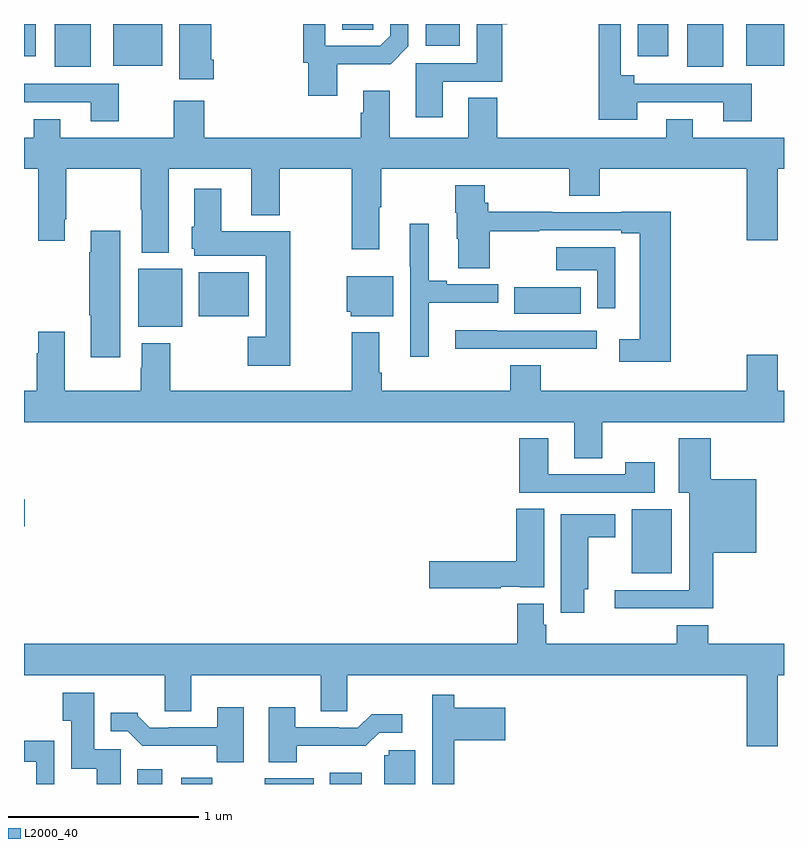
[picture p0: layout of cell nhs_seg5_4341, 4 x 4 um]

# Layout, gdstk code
import gdstk
lib = gdstk.Library(unit=1e-6, precision=1e-09)
def R(c, l, rs):  # rectangles x0, y0, x1, y1
    for r in rs: c.add(gdstk.rectangle(r[:2], r[2:], *l))
def P(c, l, *ps):  # polygons
    for p in ps: c.add(gdstk.Polygon(p, *l))
L2000_40 = (2000, 40)

nhs_seg5_4341 = lib.new_cell('nhs_seg5_4341')
R(nhs_seg5_4341, L2000_40, [(365.597,910.799,365.728,910.876), (365.828,910.799,365.99,910.831), (366.266,910.799,366.524,910.828), (366.609,910.799,366.778,910.858), (368.198,911.909,368.41,912.244), (365,912.155,365.005,912.297), (365.6,913.205,365.833,913.51), (365.921,913.262,366.184,913.492), (367.581,913.274,367.931,913.414), (365.162,914.573,365.35,914.799), (368.492,914.573,368.68,914.799), (365.471,914.579,365.728,914.799), (368.801,914.579,369,914.799), (365,914.628,365.062,914.799), (368.231,914.628,368.392,914.799), (367.115,914.684,367.294,914.799), (366.675,914.77,366.837,914.799)])
P(nhs_seg5_4341, L2000_40, [(365.999,914.611),(365.986,914.611),(365.986,914.799),(365.816,914.799),(365.816,914.507),(365.999,914.507)],
  [(367.204,914.496),(367.517,914.496),(367.517,914.798),(367.543,914.798),(367.543,914.799),(367.382,914.799),(367.382,914.592),(367.061,914.592),(367.061,914.307),(367.204,914.307)],
  [(366.649,914.588),(366.929,914.588),(367.023,914.682),(367.023,914.799),(366.927,914.799),(366.927,914.736),(366.876,914.685),(366.585,914.685),(366.585,914.799),(366.469,914.799),(366.469,914.595),(366.497,914.595),(366.497,914.421),(366.649,914.421)],
  [(368.829,914.484),(368.212,914.484),(368.212,914.53),(368.142,914.53),(368.142,914.799),(368.026,914.799),(368.026,914.294),(368.227,914.294),(368.227,914.388),(368.681,914.388),(368.681,914.286),(368.829,914.286)],
  [(365.499,914.484),(365,914.484),(365,914.388),(365.351,914.388),(365.351,914.286),(365.499,914.286)],
  [(365.761,914.036),(366.197,914.036),(366.197,913.793),(366.345,913.793),(366.345,914.036),(366.724,914.036),(366.724,913.614),(366.871,913.614),(366.871,913.834),(366.879,913.834),(366.879,914.036),(367.87,914.036),(367.87,913.894),(368.03,913.894),(368.03,914.036),(368.804,914.036),(368.804,913.662),(368.968,913.662),(368.968,914.036),(369,914.036),(369,914.2),(368.521,914.2),(368.521,914.299),(368.381,914.299),(368.381,914.2),(367.49,914.2),(367.49,914.411),(367.337,914.411),(367.337,914.2),(366.925,914.2),(366.925,914.449),(366.785,914.449),(366.785,914.333),(366.773,914.333),(366.773,914.2),(365.948,914.2),(365.948,914.395),(365.788,914.395),(365.788,914.2),(365.191,914.2),(365.191,914.299),(365.051,914.299),(365.051,914.2),(365,914.2),(365,914.036),(365.075,914.036),(365.075,913.659),(365.215,913.659),(365.215,913.771),(365.223,913.771),(365.223,914.036),(365.614,914.036),(365.614,913.821),(365.621,913.821),(365.621,913.595),(365.761,913.595)],
  [(368.405,913.812),(368.144,913.812),(368.144,913.809),(367.781,913.809),(367.781,913.812),(367.444,913.812),(367.444,913.857),(367.425,913.857),(367.425,913.951),(367.27,913.951),(367.27,913.806),(367.277,913.806),(367.277,913.668),(367.286,913.668),(367.286,913.513),(367.452,913.513),(367.452,913.708),(367.712,913.708),(367.712,913.713),(368.144,913.713),(368.144,913.697),(368.24,913.697),(368.24,913.139),(368.133,913.139),(368.133,913.022),(368.405,913.022)],
  [(366.402,913.708),(366.037,913.708),(366.037,913.933),(365.897,913.933),(365.897,913.731),(365.882,913.731),(365.882,913.617),(365.897,913.617),(365.897,913.58),(366.272,913.58),(366.272,913.153),(366.177,913.153),(366.177,913.001),(366.402,913.001)],
  [(367.129,913.331),(367.496,913.331),(367.496,913.428),(367.225,913.428),(367.225,913.448),(367.129,913.448),(367.129,913.747),(367.031,913.747),(367.031,913.525),(367.032,913.525),(367.032,913.047),(367.129,913.047)],
  [(365.506,913.711),(365.351,913.711),(365.351,913.598),(365.344,913.598),(365.344,913.267),(365.351,913.267),(365.351,913.044),(365.506,913.044)],
  [(368.112,913.623),(367.8,913.623),(367.8,913.502),(368.016,913.502),(368.016,913.302),(368.112,913.302)],
  [(366.943,913.471),(366.698,913.471),(366.698,913.284),(366.72,913.284),(366.72,913.262),(366.943,913.262)],
  [(368.014,913.185),(367.488,913.185),(367.488,913.186),(367.269,913.186),(367.269,913.089),(368.014,913.089)],
  [(368.043,912.704),(369,912.704),(369,912.868),(368.968,912.868),(368.968,913.057),(368.804,913.057),(368.804,912.868),(367.719,912.868),(367.719,913.004),(367.559,913.004),(367.559,912.868),(366.884,912.868),(366.884,912.964),(366.871,912.964),(366.871,913.177),(366.724,913.177),(366.724,912.868),(365.769,912.868),(365.769,913.12),(365.621,913.12),(365.621,912.989),(365.614,912.989),(365.614,912.868),(365.215,912.868),(365.215,913.18),(365.075,913.18),(365.075,913.067),(365.068,913.067),(365.068,912.868),(365,912.868),(365,912.704),(367.895,912.704),(367.895,912.514),(368.043,912.514)],
  [(368.627,912.017),(368.854,912.017),(368.854,912.403),(368.614,912.403),(368.614,912.619),(368.447,912.619),(368.447,912.332),(368.501,912.332),(368.501,911.82),(368.109,911.82),(368.109,911.723),(368.627,911.723)],
  [(368.32,912.493),(368.164,912.493),(368.164,912.429),(367.759,912.429),(367.759,912.619),(367.607,912.619),(367.607,912.333),(368.32,912.333)],
  [(367.508,911.837),(367.608,911.837),(367.608,911.834),(367.738,911.834),(367.738,912.248),(367.592,912.248),(367.592,911.972),(367.134,911.972),(367.134,911.83),(367.508,911.83)],
  [(367.948,911.823),(367.969,911.823),(367.969,912.098),(368.113,912.098),(368.113,912.22),(367.826,912.22),(367.826,911.7),(367.948,911.7)],
  [(368.968,911.372),(369,911.372),(369,911.536),(368.6,911.536),(368.6,911.635),(368.435,911.635),(368.435,911.536),(367.748,911.536),(367.748,911.637),(367.735,911.637),(367.735,911.749),(367.595,911.749),(367.595,911.536),(365,911.536),(365,911.372),(365.741,911.372),(365.741,911.182),(365.881,911.182),(365.881,911.372),(366.563,911.372),(366.563,911.182),(366.702,911.182),(366.702,911.372),(368.804,911.372),(368.804,910.998),(368.968,910.998)],
  [(365.509,910.983),(365.371,910.983),(365.371,911.278),(365.203,911.278),(365.203,911.131),(365.249,911.131),(365.249,910.88),(365.384,910.88),(365.384,910.799),(365.509,910.799)],
  [(367.265,911.03),(367.534,911.03),(367.534,911.2),(367.265,911.2),(367.265,911.269),(367.148,911.269),(367.148,911.046),(367.149,911.046),(367.149,910.799),(367.265,910.799)],
  [(366.435,911),(366.799,911),(366.87,911.07),(366.991,911.07),(366.991,911.167),(366.829,911.167),(366.756,911.094),(366.656,911.094),(366.656,911.097),(366.427,911.097),(366.427,911.203),(366.287,911.203),(366.287,910.913),(366.435,910.913)],
  [(366.157,911.203),(366.017,911.203),(366.017,911.097),(365.761,911.097),(365.761,911.094),(365.662,911.094),(365.598,911.158),(365.598,911.173),(365.456,911.173),(365.456,911.076),(365.547,911.076),(365.623,911),(366.015,911),(366.015,910.913),(366.157,910.913)],
  [(365.16,911.026),(365,911.026),(365,910.917),(365.064,910.917),(365.064,910.799),(365.16,910.799)],
  [(367.06,910.977),(366.921,910.977),(366.921,910.95),(366.896,910.95),(366.896,910.799),(367.06,910.799)])

lib.write_gds('nhs_seg5_4341.gds')
